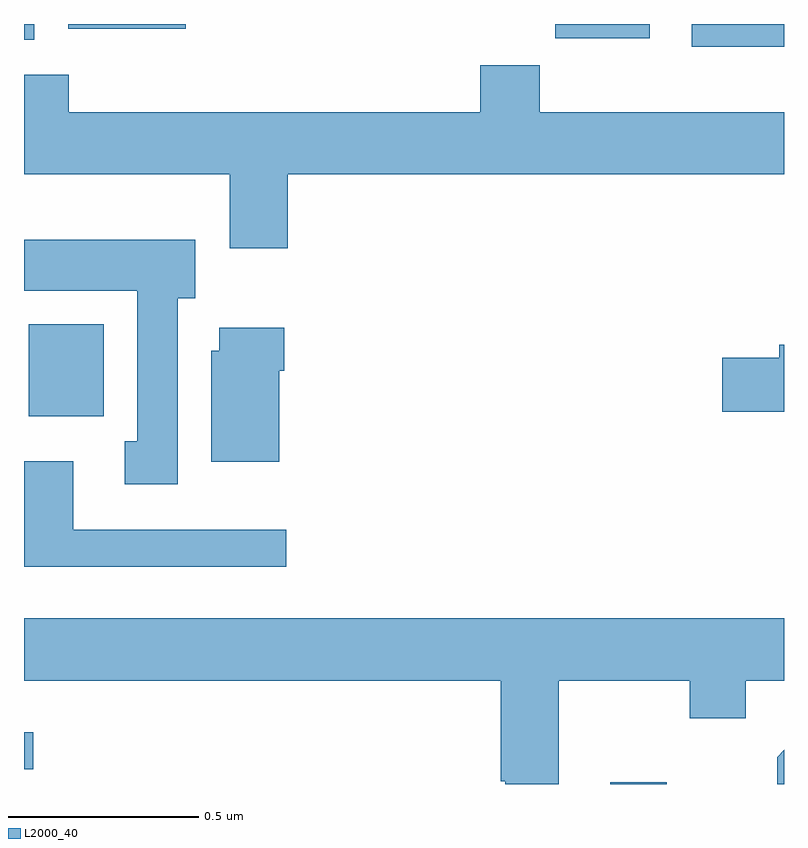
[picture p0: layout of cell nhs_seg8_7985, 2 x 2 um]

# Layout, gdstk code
import gdstk
lib = gdstk.Library(unit=1e-6, precision=1e-09)
def R(c, l, rs):  # rectangles x0, y0, x1, y1
    for r in rs: c.add(gdstk.rectangle(r[:2], r[2:], *l))
def P(c, l, *ps):  # polygons
    for p in ps: c.add(gdstk.Polygon(p, *l))
L2000_40 = (2000, 40)

nhs_seg8_7985 = lib.new_cell('nhs_seg8_7985')
R(nhs_seg8_7985, L2000_40, [(218.543,1110.9,218.692,1110.904), (217,1110.939,217.024,1111.036), (217.013,1111.868,217.21,1112.11), (218.757,1112.84,219,1112.9), (217,1112.858,217.027,1112.9), (218.398,1112.862,218.647,1112.9), (217.116,1112.887,217.426,1112.9)])
P(nhs_seg8_7985, L2000_40, [(217.694,1112.504),(219,1112.504),(219,1112.668),(218.357,1112.668),(218.357,1112.792),(218.201,1112.792),(218.201,1112.668),(217.118,1112.668),(217.118,1112.767),(217,1112.767),(217,1112.504),(217.541,1112.504),(217.541,1112.31),(217.694,1112.31)],
  [(217.405,1112.178),(217.45,1112.178),(217.45,1112.332),(217,1112.332),(217,1112.198),(217.298,1112.198),(217.298,1111.802),(217.265,1111.802),(217.265,1111.689),(217.405,1111.689)],
  [(217.672,1111.988),(217.685,1111.988),(217.685,1112.101),(217.514,1112.101),(217.514,1112.04),(217.493,1112.04),(217.493,1111.748),(217.672,1111.748)],
  [(219,1112.056),(218.987,1112.056),(218.987,1112.022),(218.838,1112.022),(218.838,1111.88),(219,1111.88)],
  [(217.69,1111.569),(217.129,1111.569),(217.129,1111.75),(217,1111.75),(217,1111.472),(217.69,1111.472)],
  [(218.407,1111.172),(218.752,1111.172),(218.752,1111.073),(218.899,1111.073),(218.899,1111.172),(219,1111.172),(219,1111.336),(217,1111.336),(217,1111.172),(218.255,1111.172),(218.255,1110.907),(218.267,1110.907),(218.267,1110.9),(218.407,1110.9)],
  [(219,1110.99),(218.982,1110.971),(218.982,1110.9),(219,1110.9)])

lib.write_gds('nhs_seg8_7985.gds')
